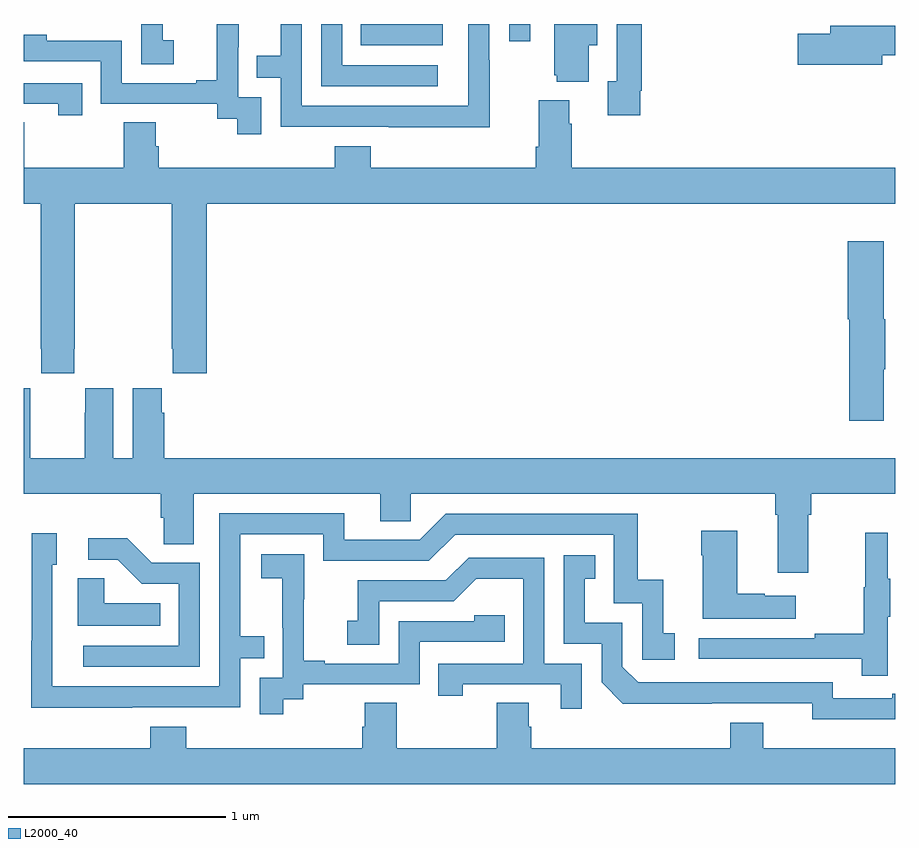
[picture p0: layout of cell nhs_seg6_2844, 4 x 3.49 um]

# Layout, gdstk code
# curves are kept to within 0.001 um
import gdstk
lib = gdstk.Library(unit=1e-6, precision=1e-09)
def R(c, l, rs):  # rectangles x0, y0, x1, y1
    for r in rs: c.add(gdstk.rectangle(r[:2], r[2:], *l))
def P(c, l, *ps):  # polygons
    for p in ps: c.add(gdstk.Polygon(p, *l))
L2000_40 = (2000, 40)

nhs_seg6_2844 = lib.new_cell('nhs_seg6_2844')
R(nhs_seg6_2844, L2000_40, [(280.546,941.402,280.924,941.5), (281.229,941.421,281.325,941.5)])
P(nhs_seg6_2844, L2000_40, [(280.089,941.163),(279.984,941.163),(279.984,941.393),(279.986,941.393),(279.986,941.5),(279.887,941.5),(279.887,941.242),(279.791,941.242),(279.791,941.229),(279.45,941.229),(279.45,941.424),(279.105,941.424),(279.105,941.451),(279,941.451),(279,941.328),(279.354,941.328),(279.354,941.133),(279.888,941.133),(279.888,941.065),(279.981,941.065),(279.981,940.995),(280.089,940.995)],
  [(281.593,941.402),(281.632,941.402),(281.632,941.5),(281.435,941.5),(281.435,941.265),(281.447,941.265),(281.447,941.234),(281.593,941.234)],
  [(281.83,941.194),(281.837,941.194),(281.837,941.5),(281.721,941.5),(281.721,941.238),(281.681,941.238),(281.681,941.082),(281.83,941.082)],
  [(280.9,941.31),(280.461,941.31),(280.461,941.5),(280.365,941.5),(280.365,941.214),(280.9,941.214)],
  [(281.139,941.333),(281.136,941.333),(281.136,941.5),(281.04,941.5),(281.04,941.124),(280.275,941.124),(280.275,941.5),(280.179,941.5),(280.179,941.354),(280.069,941.354),(280.069,941.253),(280.179,941.253),(280.179,941.028),(280.675,941.028),(280.675,941.027),(281.139,941.027)],
  [(279.688,941.425),(279.639,941.425),(279.639,941.5),(279.54,941.5),(279.54,941.316),(279.688,941.316)],
  [(282.94,941.356),(283,941.356),(283,941.492),(282.701,941.492),(282.701,941.456),(282.552,941.456),(282.552,941.314),(282.94,941.314)],
  [(279.269,941.229),(279,941.229),(279,941.133),(279.158,941.133),(279.158,941.082),(279.269,941.082)],
  [(279.231,940.009),(279.234,940.009),(279.234,940.676),(279.679,940.676),(279.679,940.009),(279.685,940.009),(279.685,939.897),(279.839,939.897),(279.839,940.676),(283,940.676),(283,940.84),(281.516,940.84),(281.516,941.042),(281.503,941.042),(281.503,941.149),(281.363,941.149),(281.363,940.936),(281.351,940.936),(281.351,940.84),(280.592,940.84),(280.592,940.939),(280.427,940.939),(280.427,940.84),(279.62,940.84),(279.62,940.938),(279.607,940.938),(279.607,941.048),(279.46,941.048),(279.46,940.84),(279.003,940.84),(279.003,941.048),(279,941.048),(279,940.676),(279.079,940.676),(279.079,940.009),(279.081,940.009),(279.081,939.897),(279.231,939.897)],
  [(282.946,939.916),(282.954,939.916),(282.954,940.146),(282.946,940.146),(282.946,940.504),(282.782,940.504),(282.782,940.146),(282.788,940.146),(282.788,939.678),(282.946,939.678)],
  [(282.601,939.248),(282.614,939.248),(282.614,939.344),(283,939.344),(283,939.508),(279.644,939.508),(279.644,939.716),(279.634,939.716),(279.634,939.829),(279.5,939.829),(279.5,939.508),(279.412,939.508),(279.412,939.829),(279.282,939.829),(279.282,939.716),(279.281,939.716),(279.281,939.508),(279.031,939.508),(279.031,939.716),(279.03,939.716),(279.03,939.829),(279,939.829),(279,939.344),(279.629,939.344),(279.629,939.235),(279.642,939.235),(279.642,939.112),(279.781,939.112),(279.781,939.344),(280.637,939.344),(280.637,939.217),(280.776,939.217),(280.776,939.344),(282.449,939.344),(282.449,939.248),(282.461,939.248),(282.461,938.982),(282.601,938.982)],
  [(279.497,938.364),(279.993,938.364),(279.993,938.589),(280.103,938.589),(280.103,938.69),(279.993,938.69),(279.993,939.159),(280.374,939.159),(280.374,939.036),(280.86,939.036),(280.98,939.156),(281.709,939.156),(281.709,938.841),(281.838,938.841),(281.838,938.583),(281.989,938.583),(281.989,938.703),(281.936,938.703),(281.936,938.95),(281.818,938.95),(281.818,939.252),(280.938,939.252),(280.818,939.132),(280.471,939.132),(280.471,939.255),(279.897,939.255),(279.897,938.46),(279.132,938.46),(279.132,939.018),(279.151,939.018),(279.151,939.163),(279.036,939.163),(279.036,938.669),(279.034,938.669),(279.034,938.363)],
  [(282.544,938.875),(282.401,938.875),(282.401,938.885),(282.274,938.885),(282.274,939.175),(282.109,939.175),(282.109,939.062),(282.116,939.062),(282.116,938.771),(282.544,938.771)],
  [(282.965,938.779),(282.976,938.779),(282.976,938.953),(282.965,938.953),(282.965,939.166),(282.862,939.166),(282.862,938.916),(282.855,938.916),(282.855,938.702),(282.631,938.702),(282.631,938.682),(282.099,938.682),(282.099,938.586),(282.847,938.586),(282.847,938.508),(282.965,938.508)],
  [(279.807,939.027),(279.588,939.027),(279.475,939.14),(279.297,939.14),(279.297,939.042),(279.431,939.042),(279.542,938.931),(279.711,938.931),(279.711,938.646),(279.273,938.646),(279.273,938.55),(279.807,938.55)],
  [(280.192,938.401),(280.284,938.401),(280.284,938.469),(280.818,938.469),(280.818,938.664),(281.207,938.664),(281.207,938.787),(281.067,938.787),(281.067,938.76),(280.722,938.76),(280.722,938.565),(280.381,938.565),(280.381,938.578),(280.286,938.578),(280.286,938.861),(280.287,938.861),(280.287,939.067),(280.089,939.067),(280.089,938.957),(280.187,938.957),(280.187,938.729),(280.188,938.729),(280.188,938.499),(280.083,938.499),(280.083,938.331),(280.192,938.331)],
  [(282.986,938.31),(283,938.31),(283,938.426),(282.986,938.426),(282.986,938.406),(282.714,938.406),(282.714,938.478),(281.82,938.478),(281.748,938.55),(281.748,938.751),(281.575,938.751),(281.575,938.955),(281.624,938.955),(281.624,939.061),(281.478,939.061),(281.478,938.655),(281.652,938.655),(281.652,938.478),(281.75,938.381),(282.618,938.382),(282.618,938.309)],
  [(281.562,938.565),(281.388,938.565),(281.388,939.051),(281.042,939.051),(280.937,938.946),(280.534,938.946),(280.534,938.761),(280.485,938.761),(280.485,938.652),(280.632,938.652),(280.632,938.85),(280.974,938.85),(281.078,938.954),(281.292,938.954),(281.292,938.565),(280.903,938.565),(280.903,938.418),(281.014,938.418),(281.014,938.469),(281.465,938.469),(281.465,938.358),(281.562,938.358)],
  [(279.626,938.842),(279.369,938.842),(279.369,938.957),(279.248,938.957),(279.248,938.738),(279.626,938.738)],
  [(283,938.176),(282.394,938.176),(282.394,938.293),(282.242,938.293),(282.242,938.176),(281.33,938.176),(281.33,938.274),(281.317,938.274),(281.317,938.384),(281.17,938.384),(281.17,938.176),(280.713,938.176),(280.713,938.384),(280.565,938.384),(280.565,938.274),(280.553,938.274),(280.553,938.176),(279.746,938.176),(279.746,938.275),(279.581,938.275),(279.581,938.176),(279,938.176),(279,938.012),(283,938.012)])

lib.write_gds('nhs_seg6_2844.gds')
